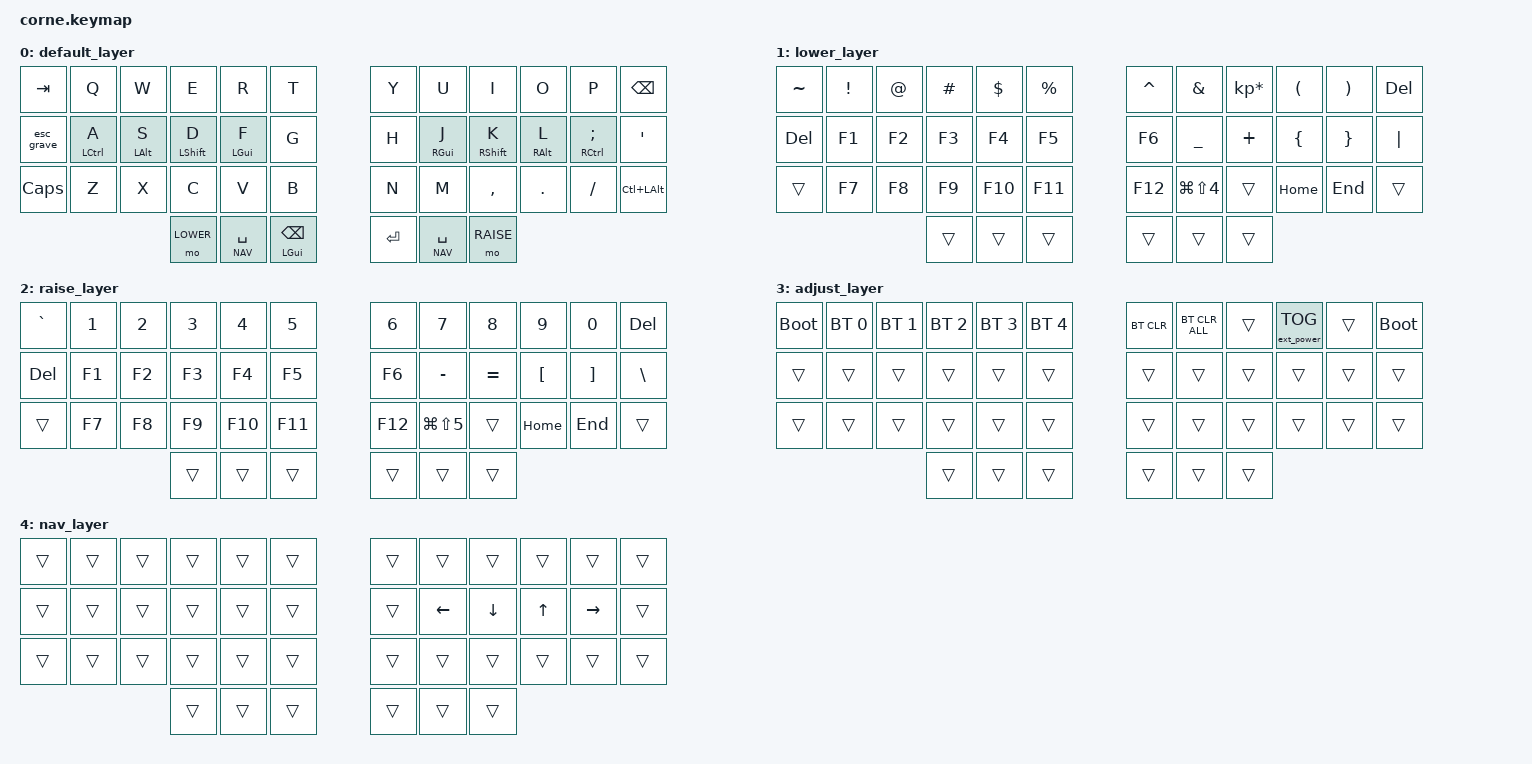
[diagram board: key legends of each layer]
/*
 * Copyright (c) 2020 The ZMK Contributors
 *
 * SPDX-License-Identifier: MIT
 */

#include <behaviors.dtsi>
#include <dt-bindings/zmk/keys.h>
#include <dt-bindings/zmk/bt.h>
#include <dt-bindings/zmk/ext_power.h>

#define DEFAULT 0
#define LOWER 1
#define RAISE 2
#define ADJUST 3
#define NAV 4

/ {
    conditional_layers {
        compatible = "zmk,conditional-layers";
        tri_layer {
            if-layers = <1 2>;
            then-layer = <3>;
        };
    };
};

/  {
    behaviors {
        hm: homerow_mods {
            compatible = "zmk,behavior-hold-tap";
            #binding-cells = <2>;
            tapping-term-ms = <200>;
            quick-tap-ms = <0>;
            flavor = "tap-preferred";
            bindings = <&kp>, <&kp>;
        };

        // Esc, but Cmd+Esc sends Cmd+` so app/window cycling sits on Tab/Esc like a normal keyboard's Tab/`
        esc_grave: esc_grave {
            compatible = "zmk,behavior-mod-morph";
            #binding-cells = <0>;
            bindings = <&kp ESC>, <&kp GRAVE>;
            mods = <(MOD_LGUI|MOD_RGUI)>;
            keep-mods = <(MOD_LGUI|MOD_RGUI)>;
        };
    };

    keymap {
            compatible = "zmk,keymap";

            default_layer {
// -----------------------------------------------------------------------------------------
// | TAB  |  Q  |  W  |  E  |  R  |  T  |   |  Y  |  U   |  I  |  O  |  P  | BKSP |
// | ESC* |  A  |  S  |  D  |  F  |  G  |   |  H  |  J   |  K  |  L  |  ;  |  '   |
// | CAPS |  Z  |  X  |  C  |  V  |  B  |   |  N  |  M   |  ,  |  .  |  /  |DICT  |
//                    |LOWER|SPC-N|BKS-G|   | ENT |SPC-N |RAISE|
// ESC* = Esc, Cmd+Esc sends Cmd+`.  DICT = Ctrl+Opt for Wispr Flow.  Home row: Ctrl Alt Shift Cmd.

                        bindings = <
   &kp TAB    &kp Q       &kp W      &kp E       &kp R         &kp T          &kp Y         &kp U          &kp I         &kp O        &kp P          &kp BSPC
   &esc_grave &hm LCTRL A &hm LALT S &hm LSHFT D &hm LGUI F    &kp G          &kp H         &hm RGUI J     &hm RSHFT K   &hm RALT L   &hm RCTRL SEMI &kp SQT
   &kp CAPS   &kp Z       &kp X      &kp C       &kp V         &kp B          &kp N         &kp M          &kp COMMA     &kp DOT      &kp FSLH       &kp LC(LALT)
                                    &mo LOWER   &lt NAV SPACE &hm LGUI BSPC  &kp RET       &lt NAV SPACE  &mo RAISE
                        >;
            };

            lower_layer {
// -----------------------------------------------------------------------------------------
// |  ~   |  !  |  @  |  #  |  $  |  %  |   |  ^  |  &  |  *  |  (  |  )  | DEL  |
// | DEL  | F1  | F2  | F3  | F4  | F5  |   | F6  |  _  |  +  |  {  |  }  |  |   |
// |      | F7  | F8  | F9  | F10 | F11 |   | F12 |SHOT |     |HOME | END |      |
//                    |     |     |     |   |     |     |     |
// SHOT = Cmd+Shift+4 screenshot

                        bindings = <
   &kp TILDE &kp EXCL &kp AT &kp HASH &kp DLLR &kp PRCNT   &kp CARET &kp AMPS  &kp KP_MULTIPLY &kp LPAR &kp RPAR &kp DEL
   &kp DEL   &kp F1   &kp F2 &kp F3   &kp F4   &kp F5      &kp F6    &kp UNDER &kp PLUS        &kp LBRC &kp RBRC &kp PIPE
   &trans    &kp F7   &kp F8 &kp F9   &kp F10  &kp F11     &kp F12   &kp LG(LS(N4)) &trans     &kp HOME &kp END  &trans
                    	     &trans   &trans   &trans      &trans    &trans    &trans
                        >;
            };

            raise_layer {
// -----------------------------------------------------------------------------------------
// |   `  |  1  |  2  |  3  |  4  |  5  |   |  6  |  7  |  8  |  9  |  0  | DEL  |
// | DEL  | F1  | F2  | F3  | F4  | F5  |   | F6  |  -  |  =  |  [  |  ]  |  \   |
// |      | F7  | F8  | F9  | F10 | F11 |   | F12 | REC |     |HOME | END |      |
//                    |     |     |     |   |     |     |     |
// REC = Cmd+Shift+5 screen recording

                        bindings = <
   &kp GRAVE &kp N1   &kp N2 &kp N3   &kp N4   &kp N5      &kp N6    &kp N7    &kp N8    &kp N9    &kp N0   &kp DEL
   &kp DEL   &kp F1   &kp F2 &kp F3   &kp F4   &kp F5      &kp F6    &kp MINUS &kp EQUAL &kp LBKT  &kp RBKT &kp BSLH
   &trans    &kp F7   &kp F8 &kp F9   &kp F10  &kp F11     &kp F12   &kp LG(LS(N5)) &trans &kp HOME  &kp END  &trans
                    	     &trans   &trans   &trans      &trans    &trans    &trans
                        >;
            };

            adjust_layer {
// -----------------------------------------------------------------------------------------
// |RESET | BT1 | BT2 | BT3 | BT4 | BT5 |   |BTCLR|     |     |     |     |RESET |
// |      |     |     |     |     |     |   |     |     |     |     |     |      | 
// |      |     |     |     |     |     |   |     |     |     |     |     |      |
//                    |     |     |     |   |     |     |     |
                        bindings = <
   &bootloader  &bt BT_SEL 0 &bt BT_SEL 1 &bt BT_SEL 2 &bt BT_SEL 3 &bt BT_SEL 4   &bt BT_CLR   &bt BT_CLR_ALL &trans &ext_power EP_TOG &trans &bootloader
   &trans       &trans       &trans       &trans       &trans       &trans         &trans       &trans  &trans  &trans  &trans  &trans
   &trans       &trans       &trans       &trans       &trans       &trans         &trans       &trans  &trans  &trans  &trans  &trans
                          	              &trans       &trans       &trans         &trans       &trans  &trans
                        >;
            };

            nav_layer {
// ------------------------------------------------------------------f-----------------------
// |      |     |     |     |     |     |   |     |     |     |     |     |      |
// |      |     |     |     |     |     |   |     |     |     |     |     |      |
// |      |     |     |     |     |     |   |     |     |     |     |     |      |
//                    |     |     |     |   |     |     |     |
                        bindings = <
   &trans    &trans    &trans    &trans   &trans    &trans     &trans   &trans    &trans    &trans  &trans     &trans
   &trans    &trans    &trans    &trans   &trans    &trans     &trans   &kp LEFT  &kp DOWN  &kp UP  &kp RIGHT  &trans
   &trans    &trans    &trans    &trans   &trans    &trans     &trans   &trans    &trans    &trans  &trans     &trans
                                 &trans    &trans   &trans     &trans   &trans    &trans
                        >;
            };
        };
};
